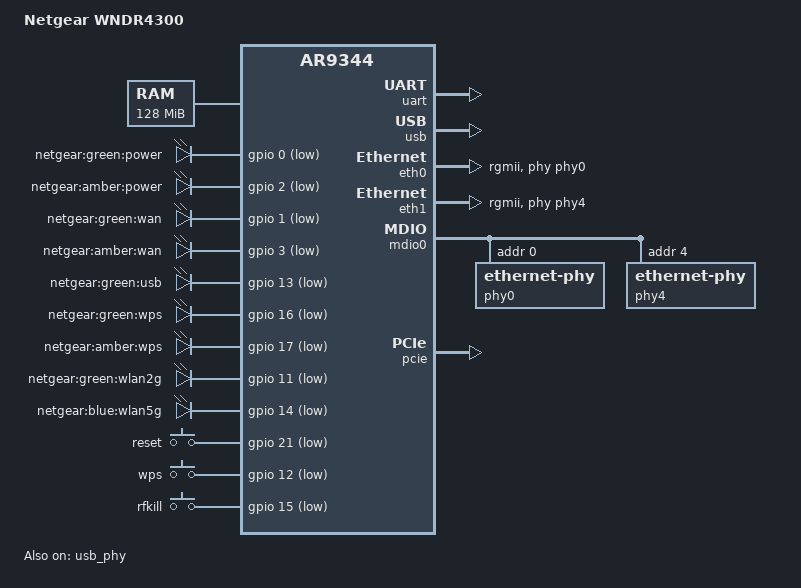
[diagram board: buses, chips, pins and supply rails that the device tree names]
// SPDX-License-Identifier: GPL-2.0-or-later OR MIT
/dts-v1/;

#include <dt-bindings/gpio/gpio.h>
#include <dt-bindings/input/input.h>

#include "ar9344.dtsi"

/ {
    model = "Netgear WNDR4300";
    compatible = "netgear,wndr4300";

    aliases {
        led_status = &power_green;
    };

    memory@0 {
		device_type = "memory";
		reg = <0x0 0x8000000>;
	};

    gpio_leds {
        compatible = "gpio-leds";

        power_green: power_green {
            label = "netgear:green:power";
            gpios = <&gpio 0 GPIO_ACTIVE_LOW>;
            default_state = "off";
        };

        power_amber {
            label = "netgear:amber:power";
            gpios = <&gpio 2 GPIO_ACTIVE_LOW>;
            default_state = "off";
        };

        wan_green {
            label = "netgear:green:wan";
            gpios = <&gpio 1 GPIO_ACTIVE_LOW>;
            default_state = "off";
        };

        wan_amber {
            label = "netgear:amber:wan";
            gpios = <&gpio 3 GPIO_ACTIVE_LOW>;
            default_state = "off";
        };

        usb {
            label = "netgear:green:usb";
            gpios = <&gpio 13 GPIO_ACTIVE_LOW>;
            default_state = "off";
        };

        wps_green {
            label = "netgear:green:wps";
            gpios = <&gpio 16 GPIO_ACTIVE_LOW>;
            default_state = "off";
        };

        wps_amber {
            label = "netgear:amber:wps";
            gpios = <&gpio 17 GPIO_ACTIVE_LOW>;
            default_state = "off";
        };

        wlan_2g {
            label = "netgear:green:wlan2g";
            gpios = <&gpio 11 GPIO_ACTIVE_LOW>;
            default_state = "off";
            linux,default-trigger = "phy0tpt";
        };

        wlan_5g {
            label = "netgear:blue:wlan5g";
            gpios = <&gpio 14 GPIO_ACTIVE_LOW>;
            default_state = "off";
            linux,default-trigger = "phy1tpt";
        };

    };

    keys {
        compatible = "gpio-keys";
		#address-cells = <1>;
		#size-cells = <0>;

        reset {
            label = "reset";
            linux,code = <KEY_RESTART>;
            gpios = <&gpio 21 GPIO_ACTIVE_LOW>;
            debounce-interval = <60>;
        };

        wps {
            label = "wps";
            linux,code = <KEY_WPS_BUTTON>;
            gpios = <&gpio 12 GPIO_ACTIVE_LOW>;
            debounce-interval = <60>;
        };

        rfkill {
            label = "rfkill";
            linux,code = <KEY_RFKILL>;
            gpios = <&gpio 15 GPIO_ACTIVE_LOW>;
            debounce-interval = <60>;
        };
    };

    gpio-export {
        compatible = "gpio-export";
        #size-cells = <0>;

        /* gpio_usb_power {
            gpio-export,name = "netgear:power:usb";
            gpio-export,output = <1>;
 			gpios = <&ath9k 0 GPIO_ACTIVE_LOW>;
        }; */
    };

};

&ref {
	clock-frequency = <40000000>;
};

&uart {
	status = "okay";
};

&usb {
    status = "okay";
};

&usb_phy {
    status = "okay";
};

&eth0 {
    status = "okay";
    phy-mode = "rgmii";
	phy-handle = <&phy0>;
};

&eth1 {
    status = "okay";
    phy-mode = "rgmii";
    phy-handle = <&phy4>;
};

&mdio0 {
	status = "okay";

	phy0: ethernet-phy@0 {
		reg = <0>;
        phy-mask = <0>;

		qca,ar8327-initvals = <
			0x04 0x07600000 /* PORT0 PAD MODE CTRL */
			0x10 0x80000080 /* POWER_ON_STRIP */
			0x50 0xcc35cc35 /* LED_CTRL0 */
			0x54 0xcb37cb37 /* LED_CTRL1 */
			0x58 0x00000000 /* LED_CTRL2 */
			0x5c 0x00f3cf00 /* LED_CTRL3 */
			0x7c 0x0000007e /* PORT0_STATUS */
			>;
	};

    phy4: ethernet-phy@4 {
        reg = <4>;
        phy-mask = <4>;
    };
};

&pcie {
	status = "okay";
};
